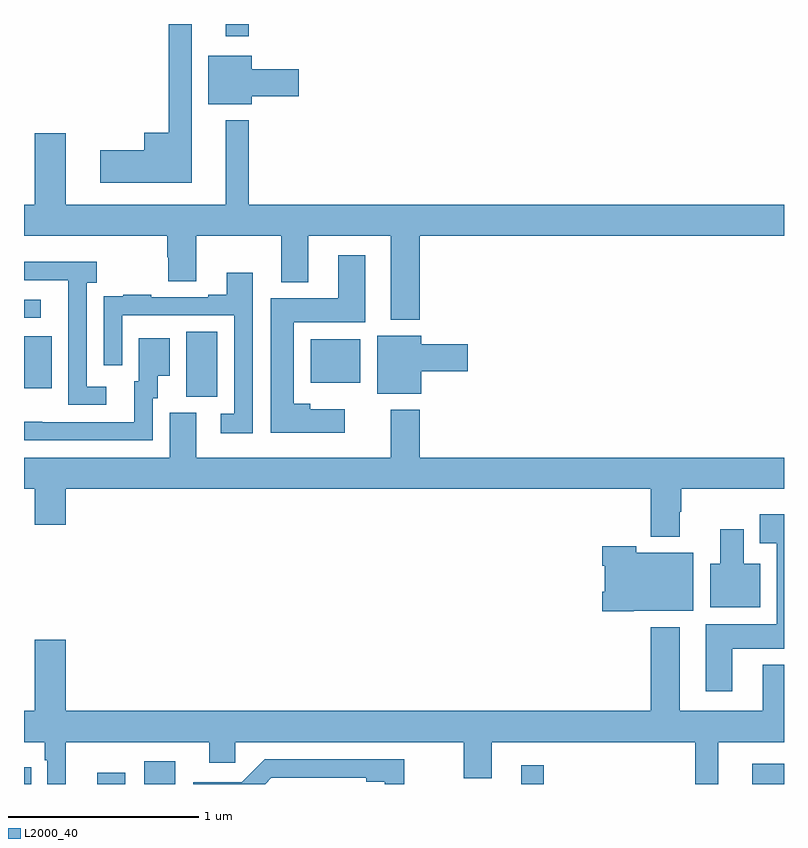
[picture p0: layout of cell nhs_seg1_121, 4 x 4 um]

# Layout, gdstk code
import gdstk
lib = gdstk.Library(unit=1e-6, precision=1e-09)
def R(c, l, rs):  # rectangles x0, y0, x1, y1
    for r in rs: c.add(gdstk.rectangle(r[:2], r[2:], *l))
def P(c, l, *ps):  # polygons
    for p in ps: c.add(gdstk.Polygon(p, *l))
L2000_40 = (2000, 40)

nhs_seg1_121 = lib.new_cell('nhs_seg1_121')
R(nhs_seg1_121, L2000_40, [(117,530.199,117.038,530.286), (117.386,530.199,117.532,530.257), (117.632,530.199,117.796,530.32), (119.618,530.199,119.735,530.299), (120.833,530.199,121,530.305), (117.854,532.237,118.018,532.58), (117,532.281,117.145,532.555), (118.508,532.31,118.771,532.54), (117,532.653,117.088,532.749), (118.061,534.135,118.183,534.199)])
P(nhs_seg1_121, L2000_40, [(117.883,534.199),(117.762,534.199),(117.762,533.626),(117.632,533.626),(117.632,533.534),(117.402,533.534),(117.402,533.363),(117.883,533.363)],
  [(118.198,533.819),(118.447,533.819),(118.447,533.961),(118.198,533.961),(118.198,534.031),(117.971,534.031),(117.971,533.777),(118.198,533.777)],
  [(119.084,533.084),(121,533.084),(121,533.248),(118.183,533.248),(118.183,533.692),(118.061,533.692),(118.061,533.248),(117.22,533.248),(117.22,533.623),(117.056,533.623),(117.056,533.248),(117,533.248),(117,533.084),(117.755,533.084),(117.755,532.971),(117.76,532.971),(117.76,532.846),(117.907,532.846),(117.907,533.084),(118.355,533.084),(118.355,532.841),(118.495,532.841),(118.495,533.084),(118.931,533.084),(118.931,532.643),(119.084,532.643)],
  [(118.687,532.171),(118.507,532.171),(118.507,532.201),(118.42,532.201),(118.42,532.628),(118.795,532.628),(118.795,532.981),(118.655,532.981),(118.655,532.756),(118.298,532.756),(118.298,532.049),(118.687,532.049)],
  [(117.433,532.29),(117.33,532.29),(117.33,532.838),(117.382,532.838),(117.382,532.948),(117,532.948),(117,532.851),(117.233,532.851),(117.233,532.651),(117.234,532.651),(117.234,532.194),(117.433,532.194)],
  [(118.203,532.891),(118.067,532.891),(118.067,532.774),(117.971,532.774),(117.971,532.761),(117.671,532.761),(117.671,532.774),(117.523,532.774),(117.523,532.767),(117.421,532.767),(117.421,532.658),(117.42,532.658),(117.42,532.404),(117.516,532.404),(117.516,532.665),(118.107,532.665),(118.107,532.149),(118.035,532.149),(118.035,532.044),(118.203,532.044)],
  [(119.092,532.372),(119.335,532.372),(119.335,532.514),(119.092,532.514),(119.092,532.558),(118.859,532.558),(118.859,532.253),(119.092,532.253)],
  [(117.678,532.23),(117.703,532.23),(117.703,532.349),(117.766,532.349),(117.766,532.546),(117.605,532.546),(117.605,532.32),(117.581,532.32),(117.581,532.104),(117.097,532.104),(117.097,532.105),(117,532.105),(117,532.008),(117.678,532.008)],
  [(120.451,531.632),(120.459,531.632),(120.459,531.752),(121,531.752),(121,531.916),(119.084,531.916),(119.084,532.168),(118.931,532.168),(118.931,531.916),(117.907,531.916),(117.907,532.152),(117.767,532.152),(117.767,531.916),(117,531.916),(117,531.752),(117.056,531.752),(117.056,531.564),(117.22,531.564),(117.22,531.752),(120.299,531.752),(120.299,531.5),(120.451,531.5)],
  [(120.727,530.912),(121,530.912),(121,531.619),(120.872,531.619),(120.872,531.467),(120.962,531.467),(120.962,531.04),(120.587,531.04),(120.587,530.688),(120.727,530.688)],
  [(120.874,531.358),(120.787,531.358),(120.787,531.541),(120.665,531.541),(120.665,531.358),(120.611,531.358),(120.611,531.128),(120.874,531.128)],
  [(120.21,531.11),(120.523,531.11),(120.523,531.415),(120.222,531.415),(120.222,531.451),(120.044,531.451),(120.044,531.347),(120.056,531.347),(120.056,531.211),(120.044,531.211),(120.044,531.107),(120.21,531.107)],
  [(120.451,531.025),(120.299,531.025),(120.299,530.584),(117.22,530.584),(117.22,530.959),(117.056,530.959),(117.056,530.584),(117,530.584),(117,530.42),(117.11,530.42),(117.11,530.324),(117.123,530.324),(117.123,530.199),(117.22,530.199),(117.22,530.42),(117.974,530.42),(117.974,530.31),(118.113,530.31),(118.113,530.42),(119.314,530.42),(119.314,530.23),(119.461,530.23),(119.461,530.42),(120.534,530.42),(120.534,530.199),(120.655,530.199),(120.655,530.42),(121,530.42),(121,530.827),(120.887,530.827),(120.887,530.584),(120.451,530.584)],
  [(118.302,530.232),(118.802,530.232),(118.802,530.212),(118.898,530.212),(118.898,530.199),(119,530.199),(119,530.328),(118.266,530.328),(118.146,530.208),(117.891,530.208),(117.891,530.199),(118.269,530.199)])

lib.write_gds('nhs_seg1_121.gds')
